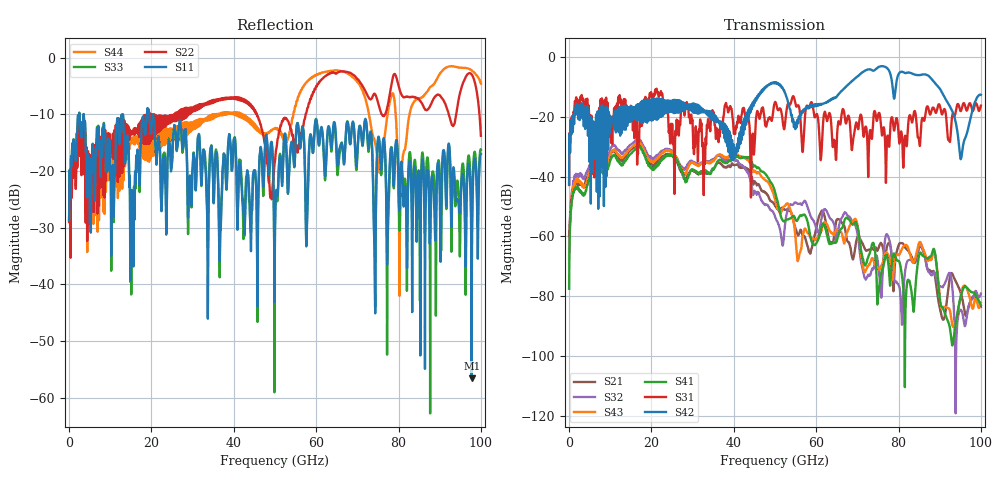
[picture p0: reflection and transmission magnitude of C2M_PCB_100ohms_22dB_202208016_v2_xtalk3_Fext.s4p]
! Info: Touchstone file created by Circ.  Input file=Intel_C2M_200G_8p5in_202208016_staggered.circ
# Hz S RI R 50
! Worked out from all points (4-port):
!   10000 points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, 10 MHz to 100 GHz, reference 50 ohm
!   strongest paths, dB at 10 MHz, 25.01 GHz, 50.01 GHz, 75.01 GHz, 100 GHz:
!     S42: -42.6, -14.9, -8.4, -3.4, -12.6
!     S31: -42.8, -22.6, -15.0, -19.7, -16.2
!     S41: -77.5, -32.8, -45.1, -80.5, -83.0
!     S43: -67.3, -31.8, -47.7, -70.7, -82.2
!     S32: -64.3, -31.5, -53.4, -68.9, -79.1
!     S21: -60.0, -32.8, -49.8, -64.4, -83.5
!   lowest |S11| = -56.6 dB at 97.76 GHz (marker M1), VSWR 1.00, Z = 50.1 - j0.0534 ohm
!   |S11| at or under -10 dB: 3.561 GHz to 13.05 GHz (9.489 GHz wide, 114 % of centre); 13.08 GHz to 18.91 GHz (5.837 GHz wide, 36.5 % of centre); 19.44 GHz to end of sweep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
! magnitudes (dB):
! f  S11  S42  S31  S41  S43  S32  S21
! 10 MHz  -28.7  -42.6  -42.8  -77.5  -67.3  -64.3  -60.0
! 1.44 GHz  -15.9  -17.1  -14.8  -44.2  -41.9  -39.9  -42.3
! 16.89 GHz  -18.2  -20.0  -25.2  -30.0  -28.5  -27.5  -29.0
! 66.12 GHz  -15.1  -11.4  -19.7  -57.4  -58.8  -54.0  -55.2
! 80.36 GHz  -21.9  -5.1  -27.1  -69.3  -65.6  -78.2  -62.2
! 97.76 GHz  -56.6  -18.7  -17.0  -78.7  -83.3  -81.3  -80.7
! 100 GHz  -16.9  -12.6  -16.2  -83.0  -82.2  -79.1  -83.5
